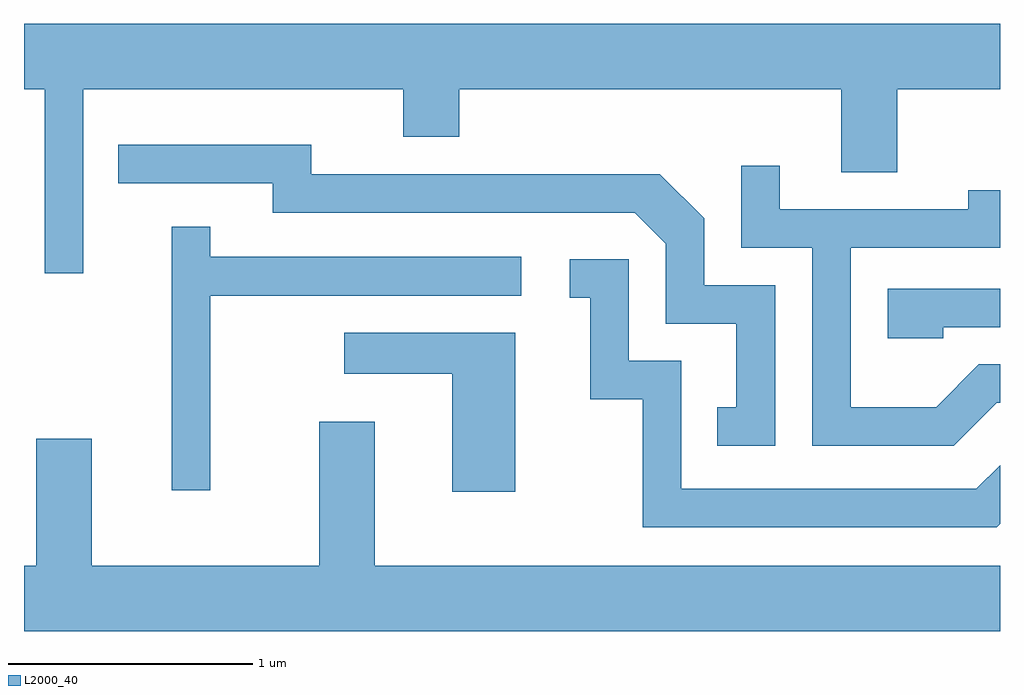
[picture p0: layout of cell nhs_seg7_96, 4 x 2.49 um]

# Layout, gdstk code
import gdstk
lib = gdstk.Library(unit=1e-6, precision=1e-09)
def P(c, l, *ps):  # polygons
    for p in ps: c.add(gdstk.Polygon(p, *l))
L2000_40 = (2000, 40)

nhs_seg7_96 = lib.new_cell('nhs_seg7_96')
P(nhs_seg7_96, L2000_40, [(187.854,1727.636),(189.166,1727.636),(189.166,1727.441),(189.394,1727.441),(189.394,1727.636),(190.961,1727.636),(190.961,1727.296),(191.189,1727.296),(191.189,1727.636),(191.611,1727.636),(191.611,1727.904),(187.611,1727.904),(187.611,1727.636),(187.696,1727.636),(187.696,1726.883),(187.854,1726.883)],
  [(190.689,1726.834),(190.399,1726.834),(190.399,1727.107),(190.217,1727.289),(188.789,1727.289),(188.789,1727.409),(187.998,1727.409),(187.998,1727.251),(188.631,1727.251),(188.631,1727.131),(190.114,1727.131),(190.241,1727.004),(190.241,1726.676),(190.531,1726.676),(190.531,1726.334),(190.453,1726.334),(190.453,1726.176),(190.689,1726.176)],
  [(191.597,1726.351),(191.611,1726.351),(191.611,1726.509),(191.524,1726.509),(191.349,1726.334),(190.999,1726.334),(190.999,1726.986),(191.611,1726.986),(191.611,1727.223),(191.481,1727.223),(191.481,1727.144),(190.709,1727.144),(190.709,1727.323),(190.551,1727.323),(190.551,1726.986),(190.841,1726.986),(190.841,1726.176),(191.422,1726.176)],
  [(188.374,1726.791),(189.648,1726.791),(189.648,1726.949),(188.374,1726.949),(188.374,1727.073),(188.216,1727.073),(188.216,1725.993),(188.374,1725.993)],
  [(191.611,1725.855),(191.611,1726.096),(191.514,1725.999),(190.304,1725.999),(190.304,1726.524),(190.089,1726.524),(190.089,1726.939),(189.848,1726.939),(189.848,1726.781),(189.931,1726.781),(189.931,1726.366),(190.146,1726.366),(190.146,1725.841),(191.597,1725.841)],
  [(191.379,1726.661),(191.611,1726.661),(191.611,1726.819),(191.151,1726.819),(191.151,1726.616),(191.379,1726.616)],
  [(189.624,1726.639),(188.923,1726.639),(188.923,1726.471),(189.366,1726.471),(189.366,1725.986),(189.624,1725.986)],
  [(191.611,1725.684),(189.049,1725.684),(189.049,1726.274),(188.821,1726.274),(188.821,1725.684),(187.889,1725.684),(187.889,1726.204),(187.661,1726.204),(187.661,1725.684),(187.611,1725.684),(187.611,1725.416),(191.611,1725.416)])

lib.write_gds('nhs_seg7_96.gds')
